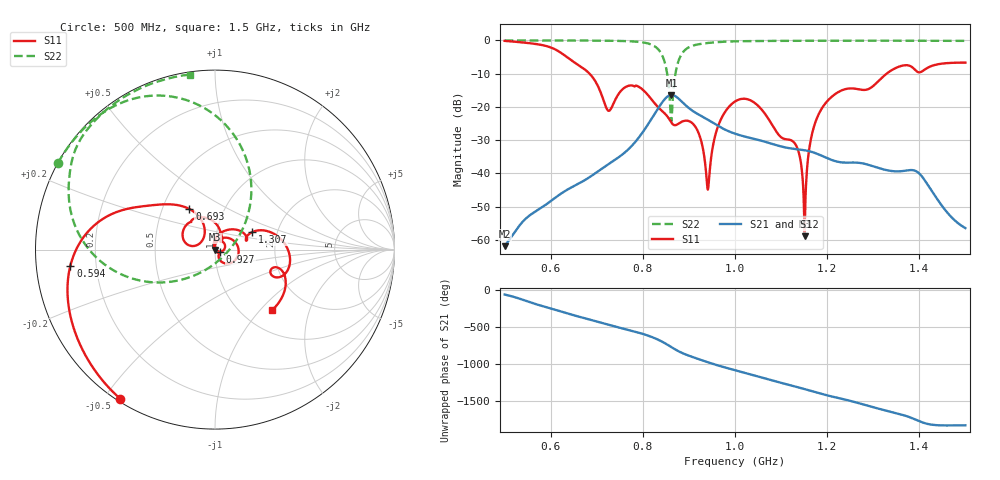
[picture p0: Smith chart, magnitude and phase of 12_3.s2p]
! TOUCHSTONE file generated by CST MICROWAVE STUDIO
! Date and time: Fri Oct 30 07:54:01 2020
! Project name: Scenario_1_Circular_Tissue_out_of_Line.cst
! Parameters = {dy1=-155.249; L_HA=400; MT=2.54; Rad_Dielectric=30; Rad_Lower=7.3; Rad_Upper=30; a_HA=580; a_WG=246; b_HA=500; b_WG=121; c_HA=0; c_WG=187; d_feed=85; dx1=520; h_feed=15; h_lower=18; h_upper=40}
! Header version: 2018
! Port assignment regex: !\s*Touchstone port\s*([0-9]+)\s*=\s*(CST MWS port|CST DS port)\s*([0-9]+|Zmin|Zmax)\s*\(\"(.*)\"\)(\s*mode\s*([0-9]+))?.*
! Touchstone port assignment:
! Touchstone port 1 = CST MWS port 1 ("")
! Touchstone port 2 = CST MWS port 2 ("")
# GHz S DB R 50
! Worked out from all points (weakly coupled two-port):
!   1001 points, 500 MHz to 1.5 GHz, reference 50 ohm
!   highest |S21| = -16.41 dB at 862 MHz (marker M1); lowest = -61.9 dB at 500 MHz (marker M2)
!   lowest |S11| = -59.0 dB at 1.151 GHz (marker M3), VSWR 1.00, Z = 49.9 - j0.0604 ohm
!   |S11| at or under -10 dB: 684.2 MHz to 1.329 GHz (644.9 MHz wide, 64.1 % of centre)
!   |S22| runs from -24.4 to 0.0 dB; largest |S21 - S12| = 1.8e-05
!   S11 on the Smith chart (normalised r, x): 500 MHz: 0.01, -0.55; 594 MHz: 0.11, -0.05; 693 MHz: 0.68, +0.33; 927 MHz: 1.06, -0.02; 1.307 GHz: 1.48, +0.31; 1.5 GHz: 1.36, -1.17
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0.5  -0.13 -122.3  -61.93 -65.0  -61.93 -65.0  -0.01 151.1
0.594  -1.83 -173.7  -48.99 117.8  -48.99 117.7  -0.02 144.6
0.667  -8.04 140.7  -42.61 -14.2  -42.61 -14.2  -0.04 138.4
0.693  -11.47 122.2  -40.36 -57.4  -40.36 -57.4  -0.06 135.7
0.725  -21.16 142.0  -37.28 -112.3  -37.28 -112.3  -0.09 131.8
0.773  -13.55 141.9  -32.17 169.2  -32.17 169.2  -0.26 122.8
0.834  -20.22 70.7  -20.26 42.2  -20.26 42.2  -2.76 87.9
0.849  -22.19 59.3  -17.45 -7.0  -17.45 -7.0  -7.37 62.0
0.862  -24.74 51.9  -16.41 -56.5  -16.41 -56.5  -24.38 -59.5
0.882  -24.66 51.6  -18.09 -125.7  -18.09 -125.7  -4.66 -169.1
0.927  -30.46 -22.0  -22.76 129.0  -22.76 129.0  -1.01 156.3
0.942  -44.37 48.1  -23.94 97.5  -23.94 97.5  -0.76 151.9
0.963  -25.91 74.6  -25.70 56.4  -25.70 56.4  -0.50 147.2
1  -18.38 19.6  -28.06 -7.9  -28.06 -7.9  -0.28 140.8
1.129  -30.84 -43.2  -32.65 134.2  -32.65 134.2  -0.11 127.5
1.151  -58.98 -147.5  -33.05 96.2  -33.05 96.2  -0.11 125.7
1.167  -28.25 99.1  -33.57 67.3  -33.57 67.3  -0.10 124.4
1.213  -16.60 49.8  -36.14 -8.0  -36.13 -8.0  -0.09 120.8
1.307  -12.81 25.2  -38.21 -160.7  -38.21 -160.7  -0.08 113.7
1.334  -9.51 15.8  -39.18 156.7  -39.18 156.7  -0.08 111.6
1.397  -9.53 -22.4  -39.71 30.3  -39.71 30.3  -0.10 106.8
1.5  -6.68 -46.6  -56.50 -33.2  -56.44 -32.7  -0.13 98.1
